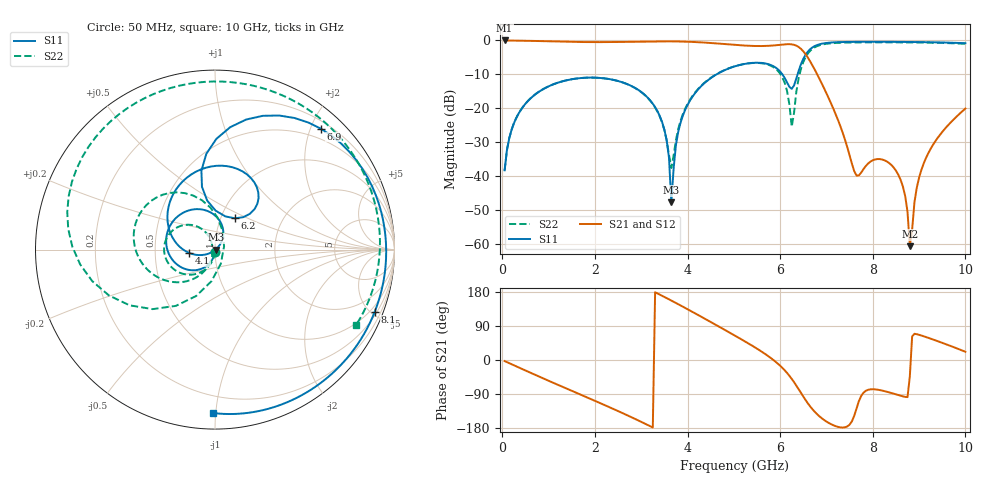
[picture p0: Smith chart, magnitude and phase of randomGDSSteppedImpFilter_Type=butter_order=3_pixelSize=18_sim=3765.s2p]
! freq	dB(S11)	phase(S11)	dB(S12)	phase(S12)
!  dB(S21)	phase(S21)	dB(S22)	phase(S22)
!S-par simulation data
#  GHz  S  DB  R 50
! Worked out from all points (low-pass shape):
!   200 points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, 50 MHz to 10 GHz, reference 50 ohm
!   highest |S21| = -0.01 dB at 50 MHz (marker M1); lowest = -60.6 dB at 8.8 GHz (marker M2)
!   |S21| within 3 dB of the highest: start of sweep to 6.486 GHz
!   lowest |S11| = -47.7 dB at 3.65 GHz (marker M3), VSWR 1.01, Z = 50.4 - j0.128 ohm
!   |S11| at or under -10 dB: start of sweep to 4.626 GHz; 6.049 GHz to 6.376 GHz (327.7 MHz wide, 5.27 % of centre)
!   |S22| runs from -38.4 to -0.6 dB; largest |S21 - S12| = 0
!   S11 on the Smith chart (normalised r, x): 50 MHz: 1.00, -0.02; 4.1 GHz: 0.75, -0.03; 6.2 GHz: 1.17, +0.42; 6.9 GHz: 0.32, +2.16; 8.1 GHz: 0.66, -5.24; 10 GHz: 0.09, -0.99
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0.05  -38.27 -93.3  -0.01 -2.8  -0.01 -2.8  -38.37 -92.3
0.5  -18.66 -121.2  -0.09 -27.7  -0.09 -27.7  -18.64 -114.8
1.75  -11.03 163.2  -0.47 -94.5  -0.47 -94.5  -11.02 -173.4
3.4  -22.27 56.1  -0.28 172.7  -0.28 172.7  -22.40 114.8
3.55  -29.46 43.5  -0.27 163.3  -0.27 163.3  -29.46 119.4
3.65  -47.75 -18.1  -0.28 156.9  -0.28 156.9  -37.58 -179.3
3.8  -26.88 -148.8  -0.31 147.2  -0.31 147.2  -26.06 -111.6
4.1  -16.71 -172.9  -0.43 127.4  -0.43 127.4  -16.49 -118.6
5.05  -7.51 115.0  -1.34 62.5  -1.34 62.5  -7.49 -172.2
5.9  -7.97 52.8  -1.43 -4.4  -1.43 -4.4  -8.32 123.8
6.2  -13.69 57.5  -1.10 -41.8  -1.10 -41.8  -18.93 68.0
6.25  -14.26 72.6  -1.16 -49.8  -1.16 -49.8  -25.44 19.0
6.45  -7.00 99.8  -2.49 -86.9  -2.49 -86.9  -8.35 -124.9
6.7  -2.03 70.3  -7.41 -130.3  -7.41 -130.3  -2.43 -173.8
6.9  -0.96 48.9  -12.73 -153.9  -12.73 -153.9  -1.23 160.0
7.65  -0.41 -0.6  -39.81 -127.5  -39.81 -127.5  -0.59 102.4
8.1  -0.40 -21.3  -34.96 -78.2  -34.96 -78.2  -0.56 76.5
8.35  -0.41 -31.6  -36.09 -85.3  -36.09 -85.3  -0.56 62.8
8.65  -0.43 -43.1  -43.03 -95.9  -43.03 -95.9  -0.57 46.6
8.8  -0.45 -48.7  -60.62 -43.7  -60.62 -43.7  -0.59 38.5
9.1  -0.50 -59.4  -36.24 62.6  -36.24 62.6  -0.63 22.3
10  -0.81 -90.6  -20.07 21.7  -20.07 21.7  -1.00 -28.3
